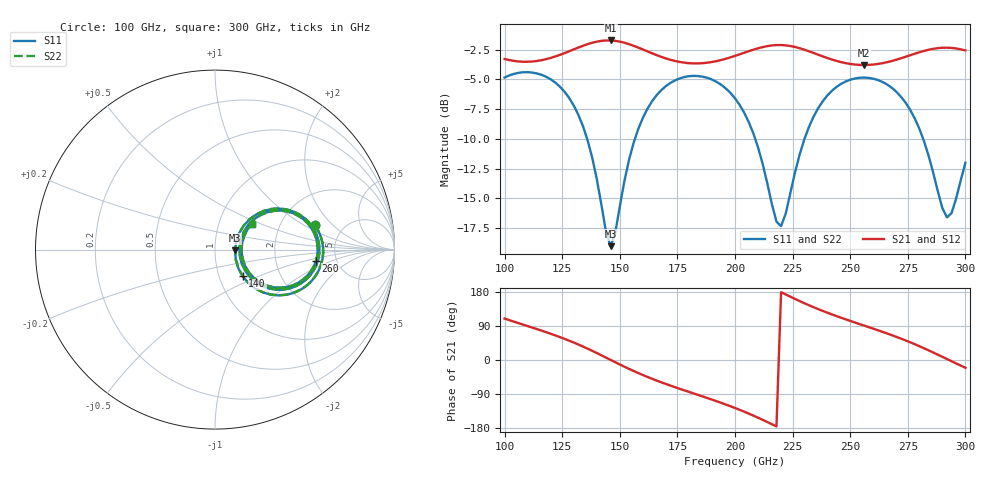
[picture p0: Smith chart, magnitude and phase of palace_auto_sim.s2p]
#  GHZ S DB R 50
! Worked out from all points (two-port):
!   101 points, 100 GHz to 300 GHz, reference 50 ohm
!   highest |S21| = -1.73 dB at 146 GHz (marker M1); lowest = -3.8 dB at 256 GHz (marker M2)
!   |S21| within 3 dB of the highest: start of sweep to end of sweep
!   lowest |S11| = -19.0 dB at 146 GHz (marker M3), VSWR 1.25, Z = 62.6 - j0.613 ohm
!   |S11| at or under -10 dB: 135.8 GHz to 156.6 GHz (20.76 GHz wide, 14.2 % of centre); 208.8 GHz to 230.2 GHz (21.41 GHz wide, 9.75 % of centre); 281.7 GHz to end of sweep
!   |S22| runs from -19.0 to -4.4 dB; largest |S21 - S12| = 0
!   S11 on the Smith chart (normalised r, x): 100 GHz: 3.11, +1.27; 140 GHz: 1.29, -0.40; 260 GHz: 3.49, -0.63; 300 GHz: 1.44, +0.44
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100  -4.85 13.9  -3.29 109.3  -3.29 109.3  -4.85 14.0
116  -4.61 -12.1  -3.39 77.6  -3.39 77.6  -4.62 -11.9
126  -6.03 -29.0  -2.79 55.8  -2.79 55.8  -6.04 -28.9
134  -8.93 -41.8  -2.17 35.5  -2.17 35.5  -8.94 -41.7
140  -13.36 -44.0  -1.83 18.4  -1.83 18.4  -13.37 -43.8
146  -19.02 -2.5  -1.73 0.3  -1.73 0.3  -19.02 -2.2
156  -10.33 40.3  -2.17 -29.0  -2.17 -29.0  -10.33 40.5
168  -5.90 22.9  -3.11 -58.9  -3.11 -58.9  -5.90 23.1
184  -4.72 -2.7  -3.66 -92.2  -3.66 -92.2  -4.72 -2.5
200  -6.59 -27.6  -3.02 -126.6  -3.02 -126.6  -6.59 -27.4
210  -10.72 -38.7  -2.39 -152.3  -2.39 -152.3  -10.70 -38.3
218  -16.96 -14.2  -2.11 -175.2  -2.11 -175.2  -16.84 -13.7
220  -17.33 4.5  -2.11 178.9  -2.11 178.9  -17.18 4.6
226  -12.86 36.4  -2.27 161.3  -2.27 161.3  -12.80 36.1
234  -8.17 33.6  -2.77 139.6  -2.77 139.6  -8.15 33.4
246  -5.38 15.5  -3.55 111.6  -3.55 111.6  -5.37 15.4
256  -4.85 -0.1  -3.79 90.9  -3.79 90.9  -4.84 -0.1
260  -4.94 -6.2  -3.75 82.7  -3.75 82.7  -4.94 -6.3
268  -5.70 -18.7  -3.46 65.7  -3.46 65.7  -5.69 -18.7
280  -9.14 -34.9  -2.72 36.5  -2.72 36.5  -9.14 -34.9
292  -16.60 -3.5  -2.33 2.5  -2.33 2.5  -16.60 -3.5
300  -12.01 35.0  -2.56 -20.4  -2.56 -20.4  -12.01 34.9
